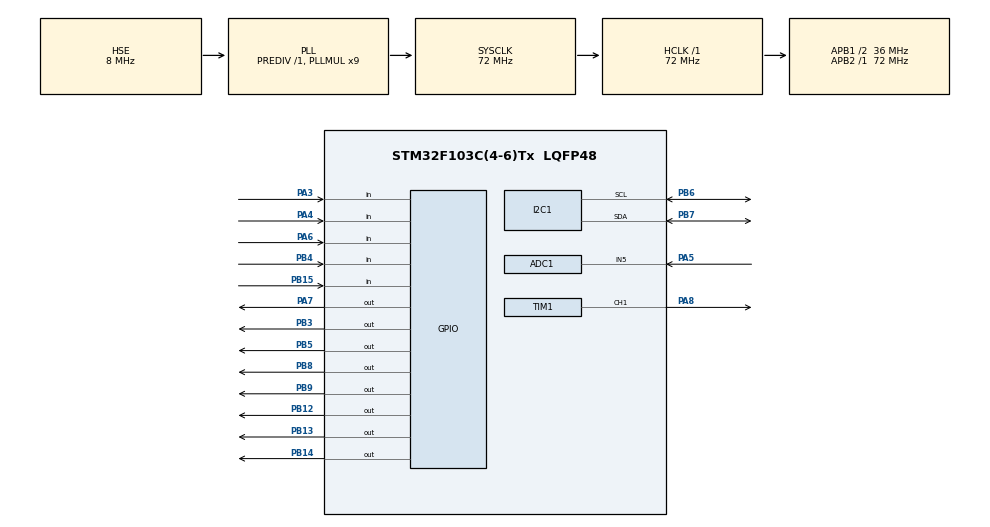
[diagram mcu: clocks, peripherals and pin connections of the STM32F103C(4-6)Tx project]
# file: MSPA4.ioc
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Mcu.Family=STM32F1
RCC.PLLSourceVirtual=RCC_PLLSOURCE_HSE
ADC1.Rank-0\#ChannelRegularConversion=1
PD1-OSC_OUT.Mode=HSE-External-Oscillator
PA7.GPIO_ModeDefaultOutputPP=GPIO_MODE_OUTPUT_OD
PD0-OSC_IN.Signal=RCC_OSC_IN
RCC.APB1CLKDivider=RCC_HCLK_DIV2
PB13.Signal=GPIO_Output
PB15.Signal=GPIO_Input
RCC.SYSCLKSource=RCC_SYSCLKSOURCE_PLLCLK
ProjectManager.StackSize=0x400
TIM1.ClockDivision=TIM_CLOCKDIVISION_DIV2
PD1-OSC_OUT.Signal=RCC_OSC_OUT
RCC.ADCPresc=RCC_ADCPCLK2_DIV6
PA13.Signal=SYS_JTMS-SWDIO
SH.S_TIM1_CH1.0=TIM1_CH1,PWM Generation1 CH1
ProjectManager.TargetToolchain=STM32CubeIDE
RCC.HCLKFreq_Value=72000000
RCC.APB2TimFreq_Value=72000000
PB6.Signal=I2C1_SCL
PB6.Mode=I2C
PB4.GPIO_PuPd=GPIO_PULLUP
RCC.USBFreq_Value=72000000
PA7.GPIO_PuPd=GPIO_NOPULL
RCC.AHBFreq_Value=72000000
PD0-OSC_IN.Mode=HSE-External-Oscillator
PB14.Signal=GPIO_Output
PA5.Signal=ADCx_IN5
ADC1.Channel-0\#ChannelRegularConversion=ADC_CHANNEL_5
PA4.GPIO_PuPd=GPIO_PULLUP
board=custom
RCC.PLLMUL=RCC_PLL_MUL9
PA7.GPIO_Speed=GPIO_SPEED_FREQ_HIGH
RCC.APB2Freq_Value=72000000
PA6.GPIO_PuPd=GPIO_PULLUP
VP_TIM2_VS_ClockSourceINT.Mode=Internal
TIM1.Channel-PWM\ Generation1\ CH1=TIM_CHANNEL_1
PA14.Mode=Serial_Wire
PB7.Signal=I2C1_SDA
PA8.Signal=S_TIM1_CH1
PA13.Mode=Serial_Wire
Mcu.Name=STM32F103C(4-6)Tx
VP_TIM1_VS_ClockSourceINT.Mode=Internal
ADC1.SamplingTime-0\#ChannelRegularConversion=ADC_SAMPLETIME_1CYCLE_5
PB3.Signal=GPIO_Output
PA4.Signal=GPIO_Input
RCC.SYSCLKFreq_VALUE=72000000
Mcu.Package=LQFP48
PB5.Signal=GPIO_Output
PB9.Signal=GPIO_Output
TIM2.Prescaler=71
PA6.Signal=GPIO_Input
ADC1.master=1
PB15.GPIO_PuPd=GPIO_PULLUP
PB7.Mode=I2C
PA14.Signal=SYS_JTCK-SWCLK
ProjectManager.HeapSize=0x200
SH.ADCx_IN5.0=ADC1_IN5,IN5
NVIC.PriorityGroup=NVIC_PRIORITYGROUP_4
ADC1.NbrOfConversionFlag=1
RCC.APB1TimFreq_Value=72000000
PB8.Signal=GPIO_Output
TIM1.Period=0xffff
RCC.APB1Freq_Value=36000000
PB12.Signal=GPIO_Output
PB4.Signal=GPIO_Input
PA3.Signal=GPIO_Input
PA7.Signal=GPIO_Output

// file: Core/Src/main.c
/* USER CODE BEGIN Header */
/**
  ******************************************************************************
  * @file           : main.c
  * @brief          : Main program body
  ******************************************************************************
  * @attention
  *
  * <h2><center>&copy; Copyright (c) 2026 STMicroelectronics.
  * All rights reserved.</center></h2>
  *
  * This software component is licensed by ST under BSD 3-Clause license,
  * the "License"; You may not use this file except in compliance with the
  * License. You may obtain a copy of the License at:
  *                        opensource.org/licenses/BSD-3-Clause
  *
  ******************************************************************************
  */
/* USER CODE END Header */
#include "main.h"

/* USER CODE BEGIN Includes */
#include "ssd1306.h"
#include "fonts.h"
#include "dht11.h"
#include <stdio.h>
#include <string.h>
#include <math.h>
/* USER CODE END Includes */

/* USER CODE BEGIN PD */
// ===== LED GROUPS =====
#define G1_LED (GPIO_PIN_9|GPIO_PIN_8|GPIO_PIN_5)
#define G2_LED (GPIO_PIN_14|GPIO_PIN_13|GPIO_PIN_12)

// ===== SENSOR PINS =====
#define SHOCK_PIN GPIO_PIN_4
#define FLAME_PIN GPIO_PIN_6
#define DHT_PIN   GPIO_PIN_7

// ===== SYSTEM SWITCH =====
#define SYS_SW_PIN GPIO_PIN_15

// ===== ADC =====
#define LDR_CHANNEL ADC_CHANNEL_5

// ===== DHT =====
#define DHT_INTERVAL 2000

#define LDR_DARK_THRESHOLD  1500
#define LDR_LIGHT_THRESHOLD 1200

/* USER CODE END PD */

ADC_HandleTypeDef hadc1;

I2C_HandleTypeDef hi2c1;

TIM_HandleTypeDef htim1;
TIM_HandleTypeDef htim2;

/* USER CODE BEGIN PV */
uint8_t dark_state = 0;
uint8_t system_state = 0;
uint8_t last_button = 1;

uint8_t dht_temp = 0;
uint8_t dht_hum  = 0;
uint32_t last_dht_time = 0;

uint8_t fire_alarm_active = 0;
uint8_t fire_killed = 0;
uint32_t fireDisplayTick = 0;
uint8_t fireFlash = 0;

uint8_t shock_alarm_active = 0;

/* USER CODE END PV */

void SystemClock_Config(void);
static void MX_GPIO_Init(void);
static void MX_I2C1_Init(void);
static void MX_TIM1_Init(void);
static void MX_TIM2_Init(void);
static void MX_ADC1_Init(void);
/* USER CODE BEGIN PFP */
void SYSTEM_Update(void);
void SYSTEM_Run(void);

uint8_t SHOCK_Read(void);
uint8_t FLAME_Read(void);
uint32_t LDR_Read(void);

void LED_G1_On(void);
void LED_G2_On(void);
void LED_All_Off(void);

void DISPLAY_Off(void);
void DISPLAY_Normal(void);
void DISPLAY_Shock(void);
void DISPLAY_Flame(void);

void DHT_Update(void);

void FIRE_Alert_Run(void);
void FIRE_Display(void);
void FIRE_Check(void);

void Speaker_PlayFreq(uint16_t freq);
void DISPLAY_Night(void);
/* USER CODE BEGIN PFP */
// ... existing prototypes ...
void DISPLAY_Splash(void);   // ← ADD THIS
/* USER CODE END PFP */
/* USER CODE END PFP */

/* USER CODE BEGIN 0 */
void Speaker_PlayFreq(uint16_t freq)
{
    if(freq == 0)
    {
        __HAL_TIM_SET_COMPARE(&htim1, TIM_CHANNEL_1, 0);
        return;
    }

    uint32_t prescaler = 72 - 1;     // 1 MHz timer
    uint32_t arr = (1000000 / freq) - 1;

    __HAL_TIM_SET_PRESCALER(&htim1, prescaler);
    __HAL_TIM_SET_AUTORELOAD(&htim1, arr);
    __HAL_TIM_SET_COMPARE(&htim1, TIM_CHANNEL_1, arr / 2);
}

void SYSTEM_Update(void)
{
    uint8_t current = HAL_GPIO_ReadPin(GPIOB, GPIO_PIN_15);

    if(current == GPIO_PIN_RESET && last_button == GPIO_PIN_SET)
    {
        HAL_Delay(50);  // debounce
        if(HAL_GPIO_ReadPin(GPIOB, GPIO_PIN_15) == GPIO_PIN_RESET)
        {
            system_state = !system_state;
            // Clear all alarms on toggle
            fire_alarm_active = 0;
            fire_killed = 0;
            shock_alarm_active = 0;
            Speaker_PlayFreq(0);
            LED_All_Off();
        }
    }
    last_button = current;
}

uint8_t SHOCK_Read(void)
{
    return HAL_GPIO_ReadPin(GPIOA, GPIO_PIN_4);
}

uint8_t FLAME_Read(void)
{
    return HAL_GPIO_ReadPin(GPIOA, GPIO_PIN_6);
}

uint32_t LDR_Read(void)
{
    HAL_ADC_Start(&hadc1);
    HAL_ADC_PollForConversion(&hadc1, 10);
    uint32_t val = HAL_ADC_GetValue(&hadc1);
    HAL_ADC_Stop(&hadc1);
    return val;
}

void LED_G1_On(void)
{
    HAL_GPIO_WritePin(GPIOB, G1_LED, GPIO_PIN_SET);
}

void LED_G2_On(void)
{
    HAL_GPIO_WritePin(GPIOB, G2_LED, GPIO_PIN_SET);
}

void LED_All_Off(void)
{
    HAL_GPIO_WritePin(GPIOB, G1_LED|G2_LED, GPIO_PIN_RESET);
}

void DHT_Update(void)
{
    if(HAL_GetTick() - last_dht_time > DHT_INTERVAL)
    {
        last_dht_time = HAL_GetTick();

        uint8_t t, h;
        if(DHT11_Read(GPIOA, GPIO_PIN_7, &htim2, &t, &h) == 0)
        {
            dht_temp = t;
            dht_hum  = h;
        }
    }
}

// display functions
void DISPLAY_Off(void)
{
    ssd1306_Fill(Black);

    // Thin single border
    for(int x = 0; x < 128; x++)
    {
        ssd1306_DrawPixel(x, 0,  White);
        ssd1306_DrawPixel(x, 63, White);
    }
    for(int y = 0; y < 64; y++)
    {
        ssd1306_DrawPixel(0,   y, White);
        ssd1306_DrawPixel(127, y, White);
    }

    // Large lock icon (pixel art, centered ~x=55..73, y=8..38)
    // Shackle (arch top)
    ssd1306_DrawPixel(60,8,White);  ssd1306_DrawPixel(61,8,White);
    ssd1306_DrawPixel(62,8,White);  ssd1306_DrawPixel(63,8,White);
    ssd1306_DrawPixel(64,8,White);  ssd1306_DrawPixel(65,8,White);
    ssd1306_DrawPixel(59,9,White);  ssd1306_DrawPixel(66,9,White);
    ssd1306_DrawPixel(58,10,White); ssd1306_DrawPixel(67,10,White);
    ssd1306_DrawPixel(58,11,White); ssd1306_DrawPixel(67,11,White);
    ssd1306_DrawPixel(58,12,White); ssd1306_DrawPixel(67,12,White);
    ssd1306_DrawPixel(58,13,White); ssd1306_DrawPixel(67,13,White);
    ssd1306_DrawPixel(58,14,White); ssd1306_DrawPixel(67,14,White);
    // Lock body
    for(int x = 55; x <= 70; x++)
    {
        ssd1306_DrawPixel(x, 15, White);
        ssd1306_DrawPixel(x, 32, White);
    }
    for(int y = 15; y <= 32; y++)
    {
        ssd1306_DrawPixel(55, y, White);
        ssd1306_DrawPixel(70, y, White);
    }
    // Keyhole
    ssd1306_DrawPixel(62,21,White); ssd1306_DrawPixel(63,21,White);
    ssd1306_DrawPixel(61,22,White); ssd1306_DrawPixel(64,22,White);
    ssd1306_DrawPixel(61,23,White); ssd1306_DrawPixel(64,23,White);
    ssd1306_DrawPixel(62,24,White); ssd1306_DrawPixel(63,24,White);
    ssd1306_DrawPixel(62,25,White); ssd1306_DrawPixel(63,25,White);
    ssd1306_DrawPixel(61,26,White); ssd1306_DrawPixel(64,26,White);
    ssd1306_DrawPixel(62,27,White); ssd1306_DrawPixel(63,27,White);

    ssd1306_SetCursor(22, 40);
    ssd1306_WriteString("-- STANDBY --", Font_7x10, White);

    ssd1306_SetCursor(28, 52);
    ssd1306_WriteString("PRESS TO ARM", Font_7x10, White);

    ssd1306_UpdateScreen(&hi2c1);
}

void DISPLAY_Normal(void)
{
    static uint32_t last = 0;
    if(HAL_GetTick() - last < 150) return;
    last = HAL_GetTick();

    char buf[20];
    ssd1306_Fill(Black);

    // ===== TOP BAR =====
    for(int i = 0; i < 128; i++) ssd1306_DrawPixel(i, 11, White);

    ssd1306_SetCursor(2, 1);
    ssd1306_WriteString("SMART HOME", Font_7x10, White);

    // ===== DAY/NIGHT icon (top right) =====
    if(dark_state)
    {
        // Crescent moon (right side of top bar)
        // Outer arc (left side of moon body)
        for(int y = 0; y <= 8; y++)
        {
            ssd1306_DrawPixel(112, y+1, White);
            ssd1306_DrawPixel(113, y+1, White);
        }
        ssd1306_DrawPixel(114, 2, White); ssd1306_DrawPixel(114, 8, White);
        ssd1306_DrawPixel(115, 3, White); ssd1306_DrawPixel(115, 7, White);
        // Inner cutout (creates crescent)
        ssd1306_DrawPixel(113, 3, Black); ssd1306_DrawPixel(113, 4, Black);
        ssd1306_DrawPixel(113, 5, Black); ssd1306_DrawPixel(113, 6, Black);
        ssd1306_DrawPixel(113, 7, Black);
        // Stars
        ssd1306_DrawPixel(120, 2, White);
        ssd1306_DrawPixel(123, 5, White);
        ssd1306_DrawPixel(119, 7, White);
    }
    else
    {
        // Sun: center + rays
        // Center dot
        ssd1306_DrawPixel(117, 5, White);
        ssd1306_DrawPixel(118, 5, White);
        ssd1306_DrawPixel(117, 6, White);
        ssd1306_DrawPixel(118, 6, White);
        // Rays: N S E W
        ssd1306_DrawPixel(117, 2, White);
        ssd1306_DrawPixel(117, 9, White);
        ssd1306_DrawPixel(113, 5, White);
        ssd1306_DrawPixel(122, 5, White);
        // Rays: diagonals
        ssd1306_DrawPixel(114, 3, White);
        ssd1306_DrawPixel(121, 3, White);
        ssd1306_DrawPixel(114, 8, White);
        ssd1306_DrawPixel(121, 8, White);
    }

    // ===== TEMP =====
    sprintf(buf, "%d", dht_temp);
    ssd1306_SetCursor(2, 14);
    ssd1306_WriteString("TEMP", Font_7x10, White);
    ssd1306_SetCursor(35, 14);
    ssd1306_WriteString(buf, Font_7x10, White);
    // Degree symbol (pixel art)
    int tx = 35 + (dht_temp >= 100 ? 21 : (dht_temp >= 10 ? 14 : 7));
    ssd1306_DrawPixel(tx,   14, White);
    ssd1306_DrawPixel(tx+1, 14, White);
    ssd1306_DrawPixel(tx,   15, White);
    ssd1306_DrawPixel(tx+1, 15, White);
    ssd1306_SetCursor(tx+3, 14);
    ssd1306_WriteString("C", Font_7x10, White);

    // Temp progress bar (0–50°C range)
    // Temp progress bar (0-50°C range)
        {
            uint8_t bar_w = (dht_temp > 50) ? 60 : ((uint16_t)dht_temp * 60 / 50);
            ssd1306_DrawPixel(2, 26, White);
            for(int i = 0; i < 60; i++) ssd1306_DrawPixel(3+i, 26, (i < bar_w) ? White : Black);
            ssd1306_DrawPixel(63, 26, White);
            ssd1306_DrawPixel(33, 27, White);
            ssd1306_DrawPixel(63, 27, White);
        }

    // ===== HUM =====
    sprintf(buf, "%d%%", dht_hum);
    ssd1306_SetCursor(2, 30);
    ssd1306_WriteString("HUM ", Font_7x10, White);
    ssd1306_SetCursor(35, 30);
    ssd1306_WriteString(buf, Font_7x10, White);

    // Humidity bar
    {
        uint8_t bar_w = (dht_hum > 100) ? 60 : (dht_hum * 60 / 100);
        ssd1306_DrawPixel(2, 42, White);
        for(int i = 0; i < 60; i++) ssd1306_DrawPixel(3+i, 42, (i < bar_w) ? White : Black);
        ssd1306_DrawPixel(63, 42, White);
        ssd1306_DrawPixel(33, 43, White);
        ssd1306_DrawPixel(63, 43, White);
    }

    // ===== VERTICAL DIVIDER =====
    for(int y = 13; y < 63; y++) ssd1306_DrawPixel(76, y, White);

    // ===== RIGHT PANEL: TIME-OF-DAY LABEL =====
    ssd1306_SetCursor(80, 14);
    ssd1306_WriteString(dark_state ? "NIGHT" : "DAY  ", Font_7x10, White);

    // ===== RIGHT PANEL: STATUS ICONS =====
    // Thermometer icon (pixel art) next to temp
    ssd1306_DrawPixel(80, 28, White); ssd1306_DrawPixel(81, 28, White);
    ssd1306_DrawPixel(80, 30, White); ssd1306_DrawPixel(81, 30, White);
    ssd1306_DrawPixel(80, 32, White); ssd1306_DrawPixel(81, 32, White);
    ssd1306_DrawPixel(79, 34, White); ssd1306_DrawPixel(82, 34, White);
    ssd1306_DrawPixel(78, 36, White); ssd1306_DrawPixel(83, 36, White);
    ssd1306_DrawPixel(79, 38, White); ssd1306_DrawPixel(82, 38, White);
    ssd1306_DrawPixel(80, 39, White); ssd1306_DrawPixel(81, 39, White);

    // Droplet icon (humidity)
    ssd1306_DrawPixel(91, 28, White);
    ssd1306_DrawPixel(90, 30, White); ssd1306_DrawPixel(92, 30, White);
    ssd1306_DrawPixel(89, 32, White); ssd1306_DrawPixel(93, 32, White);
    ssd1306_DrawPixel(89, 34, White); ssd1306_DrawPixel(93, 34, White);
    ssd1306_DrawPixel(90, 36, White); ssd1306_DrawPixel(92, 36, White);
    ssd1306_DrawPixel(91, 37, White);

    // ===== BOTTOM STATUS BAR =====
    for(int i = 0; i < 128; i++) ssd1306_DrawPixel(i, 53, White);

    ssd1306_SetCursor(2, 55);
    ssd1306_WriteString("STATUS: OK", Font_7x10, White);

    // Animated scrolling dot
    static uint8_t pos = 100;
    ssd1306_DrawPixel(pos, 58, White);
    ssd1306_DrawPixel(pos+1, 58, White); // 2-pixel wide for visibility
    pos += 2;
    if(pos >= 126) pos = 100;

    ssd1306_UpdateScreen(&hi2c1);
}

void DISPLAY_Shock(void)
{
    static uint32_t last  = 0;
    static uint8_t  phase = 0;
    if(HAL_GetTick() - last < 100) return;
    last = HAL_GetTick();
    phase++;

    ssd1306_Fill(Black);

    // Flashing inverted header
    if(phase % 2 == 0)
    {
        for(int x = 0; x < 128; x++)
            for(int y = 0; y < 13; y++)
                ssd1306_DrawPixel(x, y, White);
        ssd1306_SetCursor(10, 2);
        ssd1306_WriteString("!! EARTHQUAKE !!", Font_7x10, Black);
    }
    else
    {
        ssd1306_SetCursor(10, 2);
        ssd1306_WriteString("!! EARTHQUAKE !!", Font_7x10, White);
    }

    // Expanding diamond rings from center
    uint8_t cx = 64, cy = 34;
    for(int r = 0; r < 3; r++)
    {
        uint8_t rad = (phase * 4 + r * 8) % 22;
        if(rad < 2) continue;
        for(int i = 0; i <= rad; i++)
        {
            int j = rad - i;
            if(cx+i < 127 && cy+j < 52 && cy+j > 13) ssd1306_DrawPixel(cx+i, cy+j, White);
            if(cx-i > 0   && cy+j < 52 && cy+j > 13) ssd1306_DrawPixel(cx-i, cy+j, White);
            if(cx+i < 127 && cy-j > 13 && cy-j < 52) ssd1306_DrawPixel(cx+i, cy-j, White);
            if(cx-i > 0   && cy-j > 13 && cy-j < 52) ssd1306_DrawPixel(cx-i, cy-j, White);
        }
    }

    // Pulsing center cross
    ssd1306_DrawPixel(cx, cy, White);
    if(phase % 2 == 0)
    {
        ssd1306_DrawPixel(cx-1, cy,   White);
        ssd1306_DrawPixel(cx+1, cy,   White);
        ssd1306_DrawPixel(cx,   cy-1, White);
        ssd1306_DrawPixel(cx,   cy+1, White);
    }

    // Bottom bar
    for(int x = 0; x < 128; x++) ssd1306_DrawPixel(x, 53, White);
    ssd1306_SetCursor(12, 55);
    ssd1306_WriteString("DROP-COVER-HOLD!", Font_7x10, White);

    ssd1306_UpdateScreen(&hi2c1);
}

void DISPLAY_Flame(void)
{
    ssd1306_Fill(Black);
    ssd1306_SetCursor(0,20);
    ssd1306_WriteString("FIRE ALERT", Font_7x10, White);
    ssd1306_UpdateScreen(&hi2c1);
}

void FIRE_Alert_Run(void)
{
    if(!fire_alarm_active)
        return;

    // 🔊 simple wail-yelp (from your friend logic)
    static uint16_t freq = 700;
    static int8_t dir = 1;
    static uint32_t lastTick = 0;

    if(HAL_GetTick() - lastTick > 15)
    {
        lastTick = HAL_GetTick();

        freq += dir * 10;

        if(freq >= 1600)
        {
            freq = 1600;
            dir = -1;
        }
        else if(freq <= 700)
        {
            freq = 700;
            dir = 1;
        }

        Speaker_PlayFreq(freq);
    }

    // LEDs ON
    static uint8_t led_state = 0;

    if(HAL_GetTick() % 200 < 100)
        led_state = 1;
    else
        led_state = 0;

    HAL_GPIO_WritePin(GPIOB,
        G1_LED|G2_LED,
        led_state ? GPIO_PIN_SET : GPIO_PIN_RESET);

    // Display
    FIRE_Display();
}

void SYSTEM_Run(void)
{
    FIRE_Check();

    // === FIRE: highest priority ===
    if(fire_alarm_active)
    {
        FIRE_Alert_Run();
        return;
    }

    SYSTEM_Update();

    if(!system_state)
    {
        LED_All_Off();
        Speaker_PlayFreq(0);
        DISPLAY_Off();
        fire_killed = 0;
        return;
    }

    DHT_Update();

    uint32_t ldr = LDR_Read();
    if(ldr > LDR_DARK_THRESHOLD)        dark_state = 1;
    else if(ldr < LDR_LIGHT_THRESHOLD)  dark_state = 0;

    // === SHOCK: second priority ===
    if(shock_alarm_active)
    {
        // Wail buzzer for shock
        static uint32_t shockBuzzTick = 0;
        static uint8_t  shockBuzzState = 0;
        if(HAL_GetTick() - shockBuzzTick > 300)
        {
            shockBuzzTick = HAL_GetTick();
            shockBuzzState = !shockBuzzState;
            Speaker_PlayFreq(shockBuzzState ? 1200 : 800);
        }
        LED_G1_On();
        DISPLAY_Shock();
        return;
    }

    // Normal state: silence speaker
    Speaker_PlayFreq(0);

    // === NIGHT LEDs ===
    if(dark_state) LED_G2_On();
    else HAL_GPIO_WritePin(GPIOB, G2_LED, GPIO_PIN_RESET);

    DISPLAY_Normal();
}

void DISPLAY_Night(void)
{
    ssd1306_Fill(Black);

    ssd1306_SetCursor(20,10);
    ssd1306_WriteString("NIGHT MODE", Font_11x18, White);

    ssd1306_SetCursor(10,40);
    ssd1306_WriteString("LOW LIGHT", Font_7x10, White);

    ssd1306_UpdateScreen(&hi2c1);
}

void FIRE_Check(void)
{
    if(FLAME_Read() == GPIO_PIN_RESET && !fire_killed)
        fire_alarm_active = 1;

    if(SHOCK_Read() == GPIO_PIN_RESET)
        shock_alarm_active = 1;

    // Blue button (PB4) = RESET EVERYTHING
    if(HAL_GPIO_ReadPin(GPIOB, GPIO_PIN_4) == GPIO_PIN_RESET)
    {
        HAL_Delay(50); // debounce
        if(HAL_GPIO_ReadPin(GPIOB, GPIO_PIN_4) == GPIO_PIN_RESET)
        {
            fire_alarm_active  = 0;
            fire_killed        = 1;
            shock_alarm_active = 0;
            Speaker_PlayFreq(0);
            LED_All_Off();
        }
    }
}

void FIRE_Display(void)
{
    if(HAL_GetTick() - fireDisplayTick < 220) return;
    fireDisplayTick = HAL_GetTick();
    fireFlash ^= 1;

    ssd1306_Fill(Black);

    if(fireFlash)
    {
        // Inverted top warning band
        for(int x = 0; x < 128; x++)
            for(int y = 0; y < 14; y++)
                ssd1306_DrawPixel(x, y, White);

        ssd1306_SetCursor(20, 3);
        ssd1306_WriteString("FIRE DETECTED", Font_7x10, Black);

        // Pixel flame left side (3 layered triangles)
        // Base
        for(int x = 8; x <= 24; x++) ssd1306_DrawPixel(x, 50, White);
        // Layer 1
        for(int x = 10; x <= 22; x++) ssd1306_DrawPixel(x, 46, White);
        ssd1306_DrawPixel(9,47,White); ssd1306_DrawPixel(23,47,White);
        // Layer 2
        for(int x = 12; x <= 20; x++) ssd1306_DrawPixel(x, 42, White);
        ssd1306_DrawPixel(11,43,White); ssd1306_DrawPixel(21,43,White);
        ssd1306_DrawPixel(11,44,White); ssd1306_DrawPixel(21,44,White);
        // Tip
        ssd1306_DrawPixel(15,38,White); ssd1306_DrawPixel(16,38,White);
        ssd1306_DrawPixel(17,38,White);
        ssd1306_DrawPixel(15,37,White); ssd1306_DrawPixel(16,36,White);
        ssd1306_DrawPixel(17,37,White);

        // Pixel flame right side
        for(int x = 104; x <= 120; x++) ssd1306_DrawPixel(x, 50, White);
        for(int x = 106; x <= 118; x++) ssd1306_DrawPixel(x, 46, White);
        ssd1306_DrawPixel(105,47,White); ssd1306_DrawPixel(119,47,White);
        for(int x = 108; x <= 116; x++) ssd1306_DrawPixel(x, 42, White);
        ssd1306_DrawPixel(107,43,White); ssd1306_DrawPixel(117,43,White);
        ssd1306_DrawPixel(107,44,White); ssd1306_DrawPixel(117,44,White);
        ssd1306_DrawPixel(111,38,White); ssd1306_DrawPixel(112,38,White);
        ssd1306_DrawPixel(113,38,White);
        ssd1306_DrawPixel(111,37,White); ssd1306_DrawPixel(112,36,White);
        ssd1306_DrawPixel(113,37,White);

        // Center text
        ssd1306_SetCursor(36, 20);
        ssd1306_WriteString("EVACUATE", Font_7x10, White);
        ssd1306_SetCursor(46, 32);
        ssd1306_WriteString("NOW!", Font_7x10, White);

        // Ground line
        for(int x = 0; x < 128; x++) ssd1306_DrawPixel(x, 52, White);

        ssd1306_SetCursor(28, 55);
        ssd1306_WriteString("CALL 101", Font_7x10, White);
    }
    else
    {
        // Frame 2: double border + centered alert
        for(int x = 2; x < 126; x++)
        {
            ssd1306_DrawPixel(x, 2,  White);
            ssd1306_DrawPixel(x, 61, White);
        }
        for(int y = 2; y < 62; y++)
        {
            ssd1306_DrawPixel(2,   y, White);
            ssd1306_DrawPixel(125, y, White);
        }
        for(int x = 5; x < 123; x++)
        {
            ssd1306_DrawPixel(x, 5,  White);
            ssd1306_DrawPixel(x, 58, White);
        }
        for(int y = 5; y < 59; y++)
        {
            ssd1306_DrawPixel(5,   y, White);
            ssd1306_DrawPixel(122, y, White);
        }

        // Warning triangle (pixel art, centered)
        for(int x = 57; x <= 70; x++) ssd1306_DrawPixel(x, 36, White);
        ssd1306_DrawPixel(56,35,White); ssd1306_DrawPixel(71,35,White);
        ssd1306_DrawPixel(55,34,White); ssd1306_DrawPixel(72,34,White);
        ssd1306_DrawPixel(54,33,White); ssd1306_DrawPixel(73,33,White);
        ssd1306_DrawPixel(53,32,White); ssd1306_DrawPixel(74,32,White);
        for(int x = 52; x <= 75; x++) ssd1306_DrawPixel(x, 31, White);
        // Exclamation inside
        ssd1306_DrawPixel(63,25,White); ssd1306_DrawPixel(64,25,White);
        ssd1306_DrawPixel(63,26,White); ssd1306_DrawPixel(64,26,White);
        ssd1306_DrawPixel(63,27,White); ssd1306_DrawPixel(64,27,White);
        ssd1306_DrawPixel(63,29,White); ssd1306_DrawPixel(64,29,White);

        ssd1306_SetCursor(30, 42);
        ssd1306_WriteString("FIRE ALARM!", Font_7x10, White);

        ssd1306_SetCursor(22, 10);
        ssd1306_WriteString("STAY LOW/EXIT", Font_7x10, White);
    }

    ssd1306_UpdateScreen(&hi2c1);
}
void DISPLAY_Splash(void)
{
    ssd1306_Fill(Black);

    // Corners only (no full border)
    // Top-left
    for(int i = 0; i < 12; i++) ssd1306_DrawPixel(i, 0, White);
    for(int i = 0; i < 8;  i++) ssd1306_DrawPixel(0, i, White);
    // Top-right
    for(int i = 116; i < 128; i++) ssd1306_DrawPixel(i, 0, White);
    for(int i = 0;   i < 8;  i++) ssd1306_DrawPixel(127, i, White);
    // Bottom-left
    for(int i = 0; i < 12; i++) ssd1306_DrawPixel(i, 63, White);
    for(int i = 56; i < 64; i++) ssd1306_DrawPixel(0, i, White);
    // Bottom-right
    for(int i = 116; i < 128; i++) ssd1306_DrawPixel(i, 63, White);
    for(int i = 56;  i < 64; i++) ssd1306_DrawPixel(127, i, White);

    ssd1306_SetCursor(14, 6);
    ssd1306_WriteString("SECURITY SYS", Font_7x10, White);

    // Center divider line
    for(int x = 10; x < 118; x += 3)
        ssd1306_DrawPixel(x, 19, White);

    ssd1306_SetCursor(32, 23);
    ssd1306_WriteString("STM32 v2.0", Font_7x10, White);

    // Shield icon (pixel art, centered)
    // Outer shield
    ssd1306_DrawPixel(58,34,White); ssd1306_DrawPixel(59,34,White);
    ssd1306_DrawPixel(60,34,White); ssd1306_DrawPixel(61,34,White);
    ssd1306_DrawPixel(62,34,White); ssd1306_DrawPixel(63,34,White);
    ssd1306_DrawPixel(64,34,White); ssd1306_DrawPixel(65,34,White);
    ssd1306_DrawPixel(66,34,White); ssd1306_DrawPixel(67,34,White);
    ssd1306_DrawPixel(57,35,White); ssd1306_DrawPixel(68,35,White);
    ssd1306_DrawPixel(57,36,White); ssd1306_DrawPixel(68,36,White);
    ssd1306_DrawPixel(57,37,White); ssd1306_DrawPixel(68,37,White);
    ssd1306_DrawPixel(57,38,White); ssd1306_DrawPixel(68,38,White);
    ssd1306_DrawPixel(58,39,White); ssd1306_DrawPixel(67,39,White);
    ssd1306_DrawPixel(59,40,White); ssd1306_DrawPixel(66,40,White);
    ssd1306_DrawPixel(60,41,White); ssd1306_DrawPixel(65,41,White);
    ssd1306_DrawPixel(61,42,White); ssd1306_DrawPixel(64,42,White);
    ssd1306_DrawPixel(62,43,White); ssd1306_DrawPixel(63,43,White);
    // Tick inside shield
    ssd1306_DrawPixel(60,38,White); ssd1306_DrawPixel(61,39,White);
    ssd1306_DrawPixel(62,40,White); ssd1306_DrawPixel(63,39,White);
    ssd1306_DrawPixel(64,38,White); ssd1306_DrawPixel(65,37,White);

    ssd1306_UpdateScreen(&hi2c1);
    HAL_Delay(600);

    // Slide-in loading bar (bracket style)
    ssd1306_DrawPixel(14, 52, White); ssd1306_DrawPixel(14, 53, White);
    ssd1306_DrawPixel(14, 54, White);
    ssd1306_DrawPixel(113,52, White); ssd1306_DrawPixel(113,53, White);
    ssd1306_DrawPixel(113,54, White);

    for(int i = 0; i <= 97; i++)
    {
        ssd1306_DrawPixel(15 + i, 53, White);
        if(i % 8 == 0) ssd1306_UpdateScreen(&hi2c1);
        HAL_Delay(12);
    }
    ssd1306_UpdateScreen(&hi2c1);
    HAL_Delay(300);
}

/* USER CODE END 0 */

int main(void)
{

  /* MCU Configuration--------------------------------------------------------*/

  /* Reset of all peripherals, Initializes the Flash interface and the Systick. */
  HAL_Init();

  /* Configure the system clock */
  SystemClock_Config();

  /* Initialize all configured peripherals */
  MX_GPIO_Init();
  MX_I2C1_Init();
  MX_TIM1_Init();
  MX_TIM2_Init();
  MX_ADC1_Init();
  /* USER CODE BEGIN 2 */
  HAL_TIM_Base_Start(&htim2);
  __HAL_TIM_SET_AUTORELOAD(&htim2, 0xFFFFFFFF);
  __HAL_TIM_SET_COUNTER(&htim2, 0);
  ssd1306_Init(&hi2c1);
  DISPLAY_Splash();   // <-- add this line
  HAL_Delay(100);
  HAL_TIM_PWM_Start(&htim1, TIM_CHANNEL_1);
  /* USER CODE END 2 */

  /* Infinite loop */
  while (1)
  {
	  SYSTEM_Run();
  }
}

void SystemClock_Config(void)
{
  RCC_OscInitTypeDef RCC_OscInitStruct = {0};
  RCC_ClkInitTypeDef RCC_ClkInitStruct = {0};
  RCC_PeriphCLKInitTypeDef PeriphClkInit = {0};

  /** Initializes the RCC Oscillators according to the specified parameters
  * in the RCC_OscInitTypeDef structure.
  */
  RCC_OscInitStruct.OscillatorType = RCC_OSCILLATORTYPE_HSE;
  RCC_OscInitStruct.HSEState = RCC_HSE_ON;
  RCC_OscInitStruct.HSEPredivValue = RCC_HSE_PREDIV_DIV1;
  RCC_OscInitStruct.HSIState = RCC_HSI_ON;
  RCC_OscInitStruct.PLL.PLLState = RCC_PLL_ON;
  RCC_OscInitStruct.PLL.PLLSource = RCC_PLLSOURCE_HSE;
  RCC_OscInitStruct.PLL.PLLMUL = RCC_PLL_MUL9;
  if (HAL_RCC_OscConfig(&RCC_OscInitStruct) != HAL_OK)
  {
    Error_Handler();
  }
  /** Initializes the CPU, AHB and APB buses clocks
  */
  RCC_ClkInitStruct.ClockType = RCC_CLOCKTYPE_HCLK|RCC_CLOCKTYPE_SYSCLK
                              |RCC_CLOCKTYPE_PCLK1|RCC_CLOCKTYPE_PCLK2;
  RCC_ClkInitStruct.SYSCLKSource = RCC_SYSCLKSOURCE_PLLCLK;
  RCC_ClkInitStruct.AHBCLKDivider = RCC_SYSCLK_DIV1;
  RCC_ClkInitStruct.APB1CLKDivider = RCC_HCLK_DIV2;
  RCC_ClkInitStruct.APB2CLKDivider = RCC_HCLK_DIV1;

  if (HAL_RCC_ClockConfig(&RCC_ClkInitStruct, FLASH_LATENCY_2) != HAL_OK)
  {
    Error_Handler();
  }
  PeriphClkInit.PeriphClockSelection = RCC_PERIPHCLK_ADC;
  PeriphClkInit.AdcClockSelection = RCC_ADCPCLK2_DIV6;
  if (HAL_RCCEx_PeriphCLKConfig(&PeriphClkInit) != HAL_OK)
  {
    Error_Handler();
  }
}

static void MX_ADC1_Init(void)
{

  ADC_ChannelConfTypeDef sConfig = {0};

  /** Common config
  */
  hadc1.Instance = ADC1;
  hadc1.Init.ScanConvMode = ADC_SCAN_DISABLE;
  hadc1.Init.ContinuousConvMode = DISABLE;
  hadc1.Init.DiscontinuousConvMode = DISABLE;
  hadc1.Init.ExternalTrigConv = ADC_SOFTWARE_START;
  hadc1.Init.DataAlign = ADC_DATAALIGN_RIGHT;
  hadc1.Init.NbrOfConversion = 1;
  if (HAL_ADC_Init(&hadc1) != HAL_OK)
  {
    Error_Handler();
  }
  /** Configure Regular Channel
  */
  sConfig.Channel = ADC_CHANNEL_5;
  sConfig.Rank = ADC_REGULAR_RANK_1;
  sConfig.SamplingTime = ADC_SAMPLETIME_1CYCLE_5;
  if (HAL_ADC_ConfigChannel(&hadc1, &sConfig) != HAL_OK)
  {
    Error_Handler();
  }

}

static void MX_I2C1_Init(void)
{

  hi2c1.Instance = I2C1;
  hi2c1.Init.ClockSpeed = 100000;
  hi2c1.Init.DutyCycle = I2C_DUTYCYCLE_2;
  hi2c1.Init.OwnAddress1 = 0;
  hi2c1.Init.AddressingMode = I2C_ADDRESSINGMODE_7BIT;
  hi2c1.Init.DualAddressMode = I2C_DUALADDRESS_DISABLE;
  hi2c1.Init.OwnAddress2 = 0;
  hi2c1.Init.GeneralCallMode = I2C_GENERALCALL_DISABLE;
  hi2c1.Init.NoStretchMode = I2C_NOSTRETCH_DISABLE;
  if (HAL_I2C_Init(&hi2c1) != HAL_OK)
  {
    Error_Handler();
  }

}

static void MX_TIM1_Init(void)
{

  TIM_ClockConfigTypeDef sClockSourceConfig = {0};
  TIM_MasterConfigTypeDef sMasterConfig = {0};
  TIM_OC_InitTypeDef sConfigOC = {0};
  TIM_BreakDeadTimeConfigTypeDef sBreakDeadTimeConfig = {0};

  htim1.Instance = TIM1;
  htim1.Init.Prescaler = 0;
  htim1.Init.CounterMode = TIM_COUNTERMODE_UP;
  htim1.Init.Period = 0xffff;
  htim1.Init.ClockDivision = TIM_CLOCKDIVISION_DIV2;
  htim1.Init.RepetitionCounter = 0;
  htim1.Init.AutoReloadPreload = TIM_AUTORELOAD_PRELOAD_DISABLE;
  if (HAL_TIM_Base_Init(&htim1) != HAL_OK)
  {
    Error_Handler();
  }
  sClockSourceConfig.ClockSource = TIM_CLOCKSOURCE_INTERNAL;
  if (HAL_TIM_ConfigClockSource(&htim1, &sClockSourceConfig) != HAL_OK)
  {
    Error_Handler();
  }
  if (HAL_TIM_PWM_Init(&htim1) != HAL_OK)
  {
    Error_Handler();
  }
  sMasterConfig.MasterOutputTrigger = TIM_TRGO_RESET;
  sMasterConfig.MasterSlaveMode = TIM_MASTERSLAVEMODE_DISABLE;
  if (HAL_TIMEx_MasterConfigSynchronization(&htim1, &sMasterConfig) != HAL_OK)
  {
    Error_Handler();
  }
  sConfigOC.OCMode = TIM_OCMODE_PWM1;
  sConfigOC.Pulse = 0;
  sConfigOC.OCPolarity = TIM_OCPOLARITY_HIGH;
  sConfigOC.OCNPolarity = TIM_OCNPOLARITY_HIGH;
  sConfigOC.OCFastMode = TIM_OCFAST_DISABLE;
  sConfigOC.OCIdleState = TIM_OCIDLESTATE_RESET;
  sConfigOC.OCNIdleState = TIM_OCNIDLESTATE_RESET;
  if (HAL_TIM_PWM_ConfigChannel(&htim1, &sConfigOC, TIM_CHANNEL_1) != HAL_OK)
  {
    Error_Handler();
  }
  sBreakDeadTimeConfig.OffStateRunMode = TIM_OSSR_DISABLE;
  sBreakDeadTimeConfig.OffStateIDLEMode = TIM_OSSI_DISABLE;
  sBreakDeadTimeConfig.LockLevel = TIM_LOCKLEVEL_OFF;
  sBreakDeadTimeConfig.DeadTime = 0;
  sBreakDeadTimeConfig.BreakState = TIM_BREAK_DISABLE;
  sBreakDeadTimeConfig.BreakPolarity = TIM_BREAKPOLARITY_HIGH;
  sBreakDeadTimeConfig.AutomaticOutput = TIM_AUTOMATICOUTPUT_DISABLE;
  if (HAL_TIMEx_ConfigBreakDeadTime(&htim1, &sBreakDeadTimeConfig) != HAL_OK)
  {
    Error_Handler();
  }
  HAL_TIM_MspPostInit(&htim1);

}

static void MX_TIM2_Init(void)
{

  TIM_ClockConfigTypeDef sClockSourceConfig = {0};
  TIM_MasterConfigTypeDef sMasterConfig = {0};

  htim2.Instance = TIM2;
  htim2.Init.Prescaler = 71;
  htim2.Init.CounterMode = TIM_COUNTERMODE_UP;
  htim2.Init.Period = 65535;
  htim2.Init.ClockDivision = TIM_CLOCKDIVISION_DIV1;
  htim2.Init.AutoReloadPreload = TIM_AUTORELOAD_PRELOAD_DISABLE;
  if (HAL_TIM_Base_Init(&htim2) != HAL_OK)
  {
    Error_Handler();
  }
  sClockSourceConfig.ClockSource = TIM_CLOCKSOURCE_INTERNAL;
  if (HAL_TIM_ConfigClockSource(&htim2, &sClockSourceConfig) != HAL_OK)
  {
    Error_Handler();
  }
  sMasterConfig.MasterOutputTrigger = TIM_TRGO_RESET;
  sMasterConfig.MasterSlaveMode = TIM_MASTERSLAVEMODE_DISABLE;
  if (HAL_TIMEx_MasterConfigSynchronization(&htim2, &sMasterConfig) != HAL_OK)
  {
    Error_Handler();
  }

}

static void MX_GPIO_Init(void)
{
  GPIO_InitTypeDef GPIO_InitStruct = {0};

  /* GPIO Ports Clock Enable */
  __HAL_RCC_GPIOD_CLK_ENABLE();
  __HAL_RCC_GPIOA_CLK_ENABLE();
  __HAL_RCC_GPIOB_CLK_ENABLE();

  /*Configure GPIO pin Output Level */
  HAL_GPIO_WritePin(GPIOA, GPIO_PIN_7, GPIO_PIN_RESET);

  /*Configure GPIO pin Output Level */
  HAL_GPIO_WritePin(GPIOB, GPIO_PIN_12|GPIO_PIN_13|GPIO_PIN_14|GPIO_PIN_3
                          |GPIO_PIN_5|GPIO_PIN_8|GPIO_PIN_9, GPIO_PIN_RESET);

  /*Configure GPIO pin : PA3 */
  GPIO_InitStruct.Pin = GPIO_PIN_3;
  GPIO_InitStruct.Mode = GPIO_MODE_INPUT;
  GPIO_InitStruct.Pull = GPIO_NOPULL;
  HAL_GPIO_Init(GPIOA, &GPIO_InitStruct);

  /*Configure GPIO pins : PA4 PA6 */
  GPIO_InitStruct.Pin = GPIO_PIN_4|GPIO_PIN_6;
  GPIO_InitStruct.Mode = GPIO_MODE_INPUT;
  GPIO_InitStruct.Pull = GPIO_PULLUP;
  HAL_GPIO_Init(GPIOA, &GPIO_InitStruct);

  /*Configure GPIO pin : PA7 */
  GPIO_InitStruct.Pin = GPIO_PIN_7;
  GPIO_InitStruct.Mode = GPIO_MODE_OUTPUT_OD;
  GPIO_InitStruct.Pull = GPIO_NOPULL;
  GPIO_InitStruct.Speed = GPIO_SPEED_FREQ_HIGH;
  HAL_GPIO_Init(GPIOA, &GPIO_InitStruct);

  /*Configure GPIO pins : PB12 PB13 PB14 PB3
                           PB5 PB8 PB9 */
  GPIO_InitStruct.Pin = GPIO_PIN_12|GPIO_PIN_13|GPIO_PIN_14|GPIO_PIN_3
                          |GPIO_PIN_5|GPIO_PIN_8|GPIO_PIN_9;
  GPIO_InitStruct.Mode = GPIO_MODE_OUTPUT_PP;
  GPIO_InitStruct.Pull = GPIO_NOPULL;
  GPIO_InitStruct.Speed = GPIO_SPEED_FREQ_LOW;
  HAL_GPIO_Init(GPIOB, &GPIO_InitStruct);

  /*Configure GPIO pins : PB15 PB4 */
  GPIO_InitStruct.Pin = GPIO_PIN_15|GPIO_PIN_4;
  GPIO_InitStruct.Mode = GPIO_MODE_INPUT;
  GPIO_InitStruct.Pull = GPIO_PULLUP;
  HAL_GPIO_Init(GPIOB, &GPIO_InitStruct);

}

void Error_Handler(void)
{
  __disable_irq();
  while (1)
  {
  }
}

/************************ (C) COPYRIGHT STMicroelectronics *****END OF FILE****/
